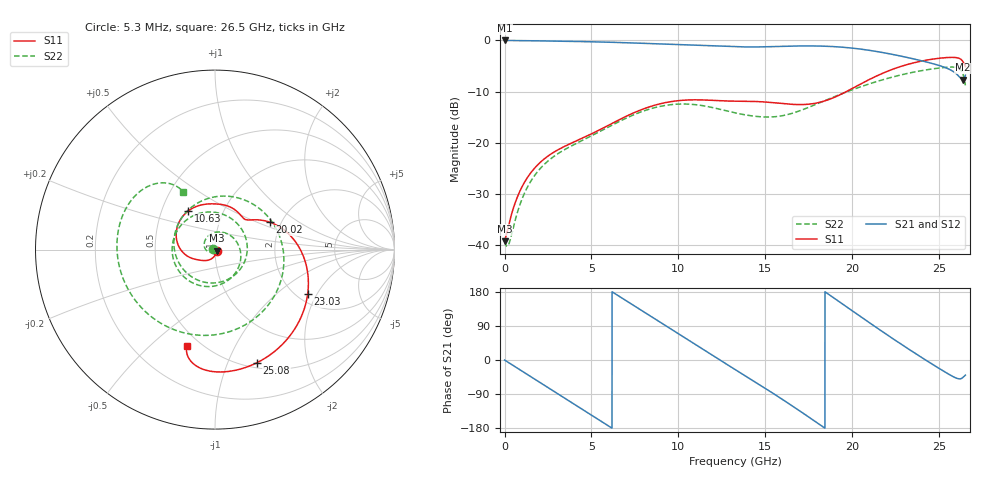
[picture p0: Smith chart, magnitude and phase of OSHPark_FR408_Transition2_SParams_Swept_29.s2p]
! TOUCHSTONE file generated by CST MICROWAVE STUDIO
! Date and time: Tue Jan  7 09:43:45 2020
! Project name: OSHPark_FR408_Transition2.cst
! Parameters = {GND_Plane_XMax=11.5; Cap_Disk_XOffset=0; Cap_Disk2_YCenter=-1.03; Cap_Disk_YCenter=1.03; Cap_Disk_XCenter=7.39; Cap_Disk_Radius=0.5; BottomSupport_Left_YMax=4.76; BottomSupport_Left_YMin=3.74; BottomSupport_Right_YMax=-3.74; BottomSupport_Right_YMin=-4.76; BottomSupport_XMax=11.64; B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
! Header version: 2015
! Port assignment regex: !\s*Touchstone port\s*([0-9]+)\s*=\s*CST MWS port\s*([0-9]+)\s*\(\"(.*)\"\)(\s*mode\s*([0-9]+))?.*
! Touchstone port assignment:
! Touchstone port 1 = CST MWS port 1 ("")
! Touchstone port 2 = CST MWS port 2 ("")
# GHz S MA R 50
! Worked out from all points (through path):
!   5000 points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, 5.3 MHz to 26.5 GHz, reference 50 ohm
!   highest |S21| = 0.00 dB at 5.3 MHz (marker M1); lowest = -7.7 dB at 26.35 GHz (marker M2)
!   group delay of S21, straight-line fit = 82.4 ps
!   lowest |S11| = -39.3 dB at 5.3 MHz (marker M3), VSWR 1.02, Z = 51 - j0.531 ohm
!   |S11| at or under -10 dB: start of sweep to 19.66 GHz
!   |S22| runs from -40.3 to -5.2 dB; largest |S21 - S12| = 0
!   S11 on the Smith chart (normalised r, x): 5.3 MHz: 1.02, -0.01; 10.63 GHz: 0.68, +0.32; 20.02 GHz: 1.74, +0.60; 23.03 GHz: 2.27, -1.68; 25.08 GHz: 0.56, -1.28; 26.5 GHz: 0.43, -0.66
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0.0053  0.0108 -28.9  1 -0.2  1 -0.2  0.01082 151.0
0.9964  0.03666 -94.7  0.9961 -29.0  0.9961 -29.0  0.0278 -153.1
2.4009  0.0718 -124.1  0.9885 -69.8  0.9885 -69.8  0.06388 159.9
3.3973  0.09091 -137.9  0.9823 -98.8  0.9823 -98.8  0.08433 117.2
4.4255  0.1095 -148.4  0.9751 -128.7  0.9751 -128.7  0.1041 69.4
5.5014  0.1343 -158.2  0.9662 -160.1  0.9662 -160.1  0.129 17.9
6.5137  0.1649 -169.3  0.9557 170.4  0.9557 170.4  0.1585 -28.9
8.8404  0.2374 155.2  0.9254 102.7  0.9254 102.7  0.2243 -125.8
10.6265  0.2619 124.6  0.9022 50.9  0.9022 50.9  0.2378 165.7
11.9515  0.2593 104.5  0.8849 12.5  0.8849 12.5  0.2206 115.4
13.2553  0.2545 87.8  0.8681 -25.0  0.8681 -25.0  0.1957 63.4
15.5608  0.245 59.6  0.8723 -91.5  0.8723 -91.5  0.1794 -55.9
17.6702  0.2398 43.9  0.8838 -156.1  0.8838 -156.1  0.2281 176.9
18.8044  0.2705 37.9  0.8726 168.0  0.8726 168.0  0.2745 113.5
20.0181  0.3407 26.7  0.8406 129.1  0.8406 129.1  0.3302 50.0
21.0198  0.4184 12.2  0.7985 97.2  0.7985 97.2  0.378 1.4
22.0851  0.5046 -6.9  0.743 63.8  0.743 63.8  0.4282 -46.2
23.0285  0.5731 -25.8  0.689 35.0  0.689 35.0  0.47 -85.5
25.0849  0.672 -69.5  0.5622 -25.0  0.5622 -25.0  0.5393 -166.7
25.8534  0.6823 -87.9  0.4898 -45.3  0.4898 -45.3  0.5486 159.8
26.3516  0.6239 -103.5  0.414 -46.3  0.414 -46.3  0.4736 128.2
26.5  0.5539 -106.1  0.4569 -40.0  0.4569 -40.0  0.3635 118.7
